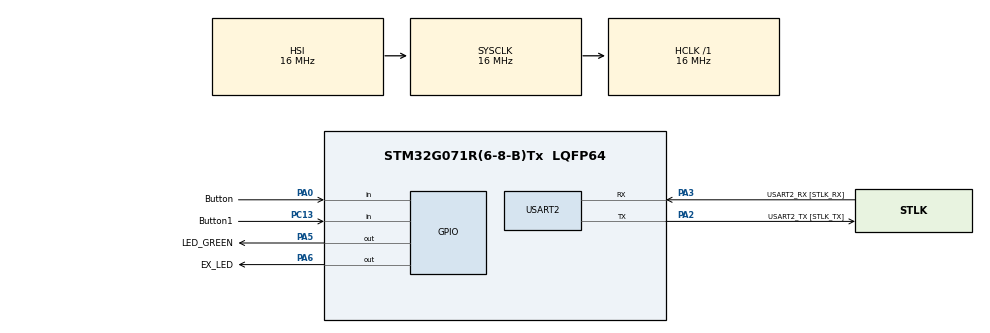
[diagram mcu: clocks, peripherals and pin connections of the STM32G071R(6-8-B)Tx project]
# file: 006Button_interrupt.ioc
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Mcu.Family=STM32G0
Mcu.Name=STM32G071R(6-8-B)Tx
Mcu.Package=LQFP64
NVIC.TIM6_DAC_LPTIM1_IRQn=true\:3\:0\:false\:false\:true\:false\:true
NVIC.TimeBase=TIM6_DAC_LPTIM1_IRQn
NVIC.TimeBaseIP=TIM6
PA0.GPIO_Label=Button
PA0.Signal=GPIO_Input
PA13.GPIO_Label=TMS
PA13.Signal=SYS_SWDIO
PA14-BOOT0.GPIO_Label=TCK
PA14-BOOT0.Signal=SYS_SWCLK
PA2.GPIO_Label=USART2_TX [STLK_TX]
PA2.Mode=Asynchronous
PA2.Signal=USART2_TX
PA3.GPIO_Label=USART2_RX [STLK_RX]
PA3.Mode=Asynchronous
PA3.Signal=USART2_RX
PA5.GPIO_Label=LED_GREEN
PA5.GPIO_Speed=GPIO_SPEED_FREQ_HIGH
PA5.Signal=GPIO_Output
PA6.GPIO_Label=EX_LED
PA6.Signal=GPIO_Output
PC13.GPIO_Label=Button1
PC13.Signal=GPIO_Input
PC14-OSC32_IN\ (PC14).Signal=RCC_OSC32_IN
PC15-OSC32_OUT\ (PC15).Signal=RCC_OSC32_OUT
PF0-OSC_IN\ (PF0).GPIO_Label=MCO
PF0-OSC_IN\ (PF0).Signal=RCC_OSC_IN
ProjectManager.HeapSize=0x200
ProjectManager.StackSize=0x400
ProjectManager.TargetToolchain=STM32CubeIDE
RCC.AHBFreq_Value=16000000
RCC.CortexFreq_Value=16000000
RCC.EXTERNAL_CLOCK_VALUE=12288000
RCC.HCLKFreq_Value=16000000
RCC.HSE_VALUE=8000000
RCC.HSI_VALUE=16000000
RCC.LSE_VALUE=32768
RCC.SYSCLKFreq_VALUE=16000000
RCC.VCOOutputFreq_Value=128000000
USART2.VirtualMode-Asynchronous=VM_ASYNC
VP_SYS_VS_DBSignals.Mode=DisableDeadBatterySignals
VP_SYS_VS_tim6.Mode=TIM6
board=NUCLEO-G071RB

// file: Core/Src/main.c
/* USER CODE BEGIN Header */
/**
  ******************************************************************************
  * @file           : main.c
  * @brief          : Main program body
  ******************************************************************************
  * @attention
  *
  * <h2><center>&copy; Copyright (c) 2023 STMicroelectronics.
  * All rights reserved.</center></h2>
  *
  * This software component is licensed by ST under BSD 3-Clause license,
  * the "License"; You may not use this file except in compliance with the
  * License. You may obtain a copy of the License at:
  *                        opensource.org/licenses/BSD-3-Clause
  *
  ******************************************************************************
  */
/* USER CODE END Header */
#include "main.h"

/* USER CODE BEGIN Includes */
#include "FreeRTOS.h"
#include "task.h"
/* USER CODE END Includes */

UART_HandleTypeDef huart2;

/* USER CODE BEGIN PV */
	TaskHandle_t task1_handle;
	TaskHandle_t task2_handle;
	TaskHandle_t button_task_handle;

	TaskHandle_t volatile next_task_handle = NULL;

/* USER CODE END PV */

void SystemClock_Config(void);
static void MX_GPIO_Init(void);
static void MX_USART2_UART_Init(void);
/* USER CODE BEGIN PFP */

static void Taskfunc1(void *parameters);
static void Taskfunc2(void *parameters);
static void button_func(void *parameters);
/* USER CODE END PFP */

int main(void)
{
  /* USER CODE BEGIN 1 */

	BaseType_t status;

  /* USER CODE END 1 */

  /* MCU Configuration--------------------------------------------------------*/

  /* Reset of all peripherals, Initializes the Flash interface and the Systick. */
  HAL_Init();

  /* Configure the system clock */
  SystemClock_Config();

  /* Initialize all configured peripherals */
  MX_GPIO_Init();
  MX_USART2_UART_Init();
  /* USER CODE BEGIN 2 */

  status = xTaskCreate(Taskfunc1,"Task-1",200,NULL,2,&task1_handle);
  configASSERT(status = pdPASS);

  next_task_handle = task1_handle;

  status = xTaskCreate(Taskfunc2,"Task-2",200,NULL,1,&task2_handle);
  configASSERT(status = pdPASS);

  status = xTaskCreate(button_func,"Button Task",200,NULL,3,&button_task_handle);
  configASSERT(status = pdPASS);

  vTaskStartScheduler();

  /* USER CODE END 2 */

  /* Infinite loop */
  while (1)
  {

  }
}

void SystemClock_Config(void)
{
  RCC_OscInitTypeDef RCC_OscInitStruct = {0};
  RCC_ClkInitTypeDef RCC_ClkInitStruct = {0};
  RCC_PeriphCLKInitTypeDef PeriphClkInit = {0};

  /** Configure the main internal regulator output voltage
  */
  HAL_PWREx_ControlVoltageScaling(PWR_REGULATOR_VOLTAGE_SCALE1);
  /** Initializes the RCC Oscillators according to the specified parameters
  * in the RCC_OscInitTypeDef structure.
  */
  RCC_OscInitStruct.OscillatorType = RCC_OSCILLATORTYPE_HSI;
  RCC_OscInitStruct.HSIState = RCC_HSI_ON;
  RCC_OscInitStruct.HSIDiv = RCC_HSI_DIV1;
  RCC_OscInitStruct.HSICalibrationValue = RCC_HSICALIBRATION_DEFAULT;
  RCC_OscInitStruct.PLL.PLLState = RCC_PLL_NONE;
  if (HAL_RCC_OscConfig(&RCC_OscInitStruct) != HAL_OK)
  {
    Error_Handler();
  }
  /** Initializes the CPU, AHB and APB buses clocks
  */
  RCC_ClkInitStruct.ClockType = RCC_CLOCKTYPE_HCLK|RCC_CLOCKTYPE_SYSCLK
                              |RCC_CLOCKTYPE_PCLK1;
  RCC_ClkInitStruct.SYSCLKSource = RCC_SYSCLKSOURCE_HSI;
  RCC_ClkInitStruct.AHBCLKDivider = RCC_SYSCLK_DIV1;
  RCC_ClkInitStruct.APB1CLKDivider = RCC_HCLK_DIV1;

  if (HAL_RCC_ClockConfig(&RCC_ClkInitStruct, FLASH_LATENCY_0) != HAL_OK)
  {
    Error_Handler();
  }
  /** Initializes the peripherals clocks
  */
  PeriphClkInit.PeriphClockSelection = RCC_PERIPHCLK_USART2;
  PeriphClkInit.Usart2ClockSelection = RCC_USART2CLKSOURCE_PCLK1;
  if (HAL_RCCEx_PeriphCLKConfig(&PeriphClkInit) != HAL_OK)
  {
    Error_Handler();
  }
}

static void MX_USART2_UART_Init(void)
{

  huart2.Instance = USART2;
  huart2.Init.BaudRate = 115200;
  huart2.Init.WordLength = UART_WORDLENGTH_8B;
  huart2.Init.StopBits = UART_STOPBITS_1;
  huart2.Init.Parity = UART_PARITY_NONE;
  huart2.Init.Mode = UART_MODE_TX_RX;
  huart2.Init.HwFlowCtl = UART_HWCONTROL_NONE;
  huart2.Init.OverSampling = UART_OVERSAMPLING_16;
  huart2.Init.OneBitSampling = UART_ONE_BIT_SAMPLE_DISABLE;
  huart2.Init.ClockPrescaler = UART_PRESCALER_DIV1;
  huart2.AdvancedInit.AdvFeatureInit = UART_ADVFEATURE_NO_INIT;
  if (HAL_UART_Init(&huart2) != HAL_OK)
  {
    Error_Handler();
  }
  if (HAL_UARTEx_SetTxFifoThreshold(&huart2, UART_TXFIFO_THRESHOLD_1_8) != HAL_OK)
  {
    Error_Handler();
  }
  if (HAL_UARTEx_SetRxFifoThreshold(&huart2, UART_RXFIFO_THRESHOLD_1_8) != HAL_OK)
  {
    Error_Handler();
  }
  if (HAL_UARTEx_DisableFifoMode(&huart2) != HAL_OK)
  {
    Error_Handler();
  }

}

static void MX_GPIO_Init(void)
{
  GPIO_InitTypeDef GPIO_InitStruct = {0};

  /* GPIO Ports Clock Enable */
  __HAL_RCC_GPIOC_CLK_ENABLE();
  __HAL_RCC_GPIOF_CLK_ENABLE();
  __HAL_RCC_GPIOA_CLK_ENABLE();

  /*Configure GPIO pin Output Level */
  HAL_GPIO_WritePin(GPIOA, LED_GREEN_Pin|EX_LED_Pin, GPIO_PIN_RESET);

  /*Configure GPIO pin : Button1_Pin */
  GPIO_InitStruct.Pin = Button1_Pin;
  GPIO_InitStruct.Mode = GPIO_MODE_INPUT;
  GPIO_InitStruct.Pull = GPIO_NOPULL;
  HAL_GPIO_Init(Button1_GPIO_Port, &GPIO_InitStruct);

  /*Configure GPIO pin : Button_Pin */
  GPIO_InitStruct.Pin = Button_Pin;
  GPIO_InitStruct.Mode = GPIO_MODE_INPUT;
  GPIO_InitStruct.Pull = GPIO_NOPULL;
  HAL_GPIO_Init(Button_GPIO_Port, &GPIO_InitStruct);

  /*Configure GPIO pin : LED_GREEN_Pin */
  GPIO_InitStruct.Pin = LED_GREEN_Pin;
  GPIO_InitStruct.Mode = GPIO_MODE_OUTPUT_PP;
  GPIO_InitStruct.Pull = GPIO_NOPULL;
  GPIO_InitStruct.Speed = GPIO_SPEED_FREQ_HIGH;
  HAL_GPIO_Init(LED_GREEN_GPIO_Port, &GPIO_InitStruct);

  /*Configure GPIO pin : EX_LED_Pin */
  GPIO_InitStruct.Pin = EX_LED_Pin;
  GPIO_InitStruct.Mode = GPIO_MODE_OUTPUT_PP;
  GPIO_InitStruct.Pull = GPIO_NOPULL;
  GPIO_InitStruct.Speed = GPIO_SPEED_FREQ_LOW;
  HAL_GPIO_Init(EX_LED_GPIO_Port, &GPIO_InitStruct);

}

/* USER CODE BEGIN 4 */

static void Taskfunc1(void *parameters)
{
	BaseType_t status;
	while(1)
	{
		HAL_GPIO_TogglePin(EX_LED_GPIO_Port, EX_LED_Pin);
		HAL_UART_Transmit(&huart2, "Hello from Task-1\r\n", sizeof("Hello from Task-1\r\n"), 1000);
		status = xTaskNotifyWait(0,0,NULL,pdMS_TO_TICKS(1000));
		if(status == pdTRUE)
		{
			vTaskSuspendAll();
			next_task_handle = task2_handle;
			xTaskResumeAll();
			HAL_GPIO_WritePin(GPIOA,EX_LED_Pin,GPIO_PIN_SET);
			HAL_UART_Transmit(&huart2, "Deleted Task-1\r\n", sizeof("Deleted Task-1\r\n"), 1000);
			vTaskDelete(NULL);
		}
	}
}

static void Taskfunc2(void *parameters)
{
	BaseType_t status;
	while(1)
	{

		HAL_GPIO_TogglePin(LED_GREEN_GPIO_Port, LED_GREEN_Pin);
		HAL_UART_Transmit(&huart2, "Hello from Task-2\r\n", sizeof("Hello from Task-2\r\n"), 1000);
		status = xTaskNotifyWait(0,0,NULL,pdMS_TO_TICKS(1000));
		if(status == pdTRUE)
		{
			vTaskSuspendAll();
			next_task_handle = NULL;
			xTaskResumeAll();
			HAL_GPIO_WritePin(GPIOA,LED_GREEN_Pin,GPIO_PIN_SET);
			HAL_UART_Transmit(&huart2, "Deleted Task-2\r\n", sizeof("Deleted Task-2\r\n"), 1000);
			vTaskDelete(NULL);
		}
	}
}

static void button_func(void *parameters)
{
	uint8_t btn_read = 1;
	uint8_t prev_read = 1;

	while(1)
	{
		//HAL_UART_Transmit(&huart2, "Hello from RTOS\r\n", sizeof("Hello from RTOS\r\n"), 1000);
		btn_read = HAL_GPIO_ReadPin(Button1_GPIO_Port, Button1_Pin);
		if(!btn_read)
		{
			HAL_UART_Transmit(&huart2, "Button Pressed\r\n", sizeof("Button Pressed\r\n"), 1000);
			if(prev_read)
			xTaskNotify(next_task_handle,0,eNoAction);
		}
		prev_read = btn_read;
		vTaskDelay(pdMS_TO_TICKS(10));
	}

}
/* USER CODE END 4 */

void HAL_TIM_PeriodElapsedCallback(TIM_HandleTypeDef *htim)
{
  if (htim->Instance == TIM6) {
    HAL_IncTick();
  }
}

void Error_Handler(void)
{
  __disable_irq();
  while (1)
  {
  }
}

/************************ (C) COPYRIGHT STMicroelectronics *****END OF FILE****/
